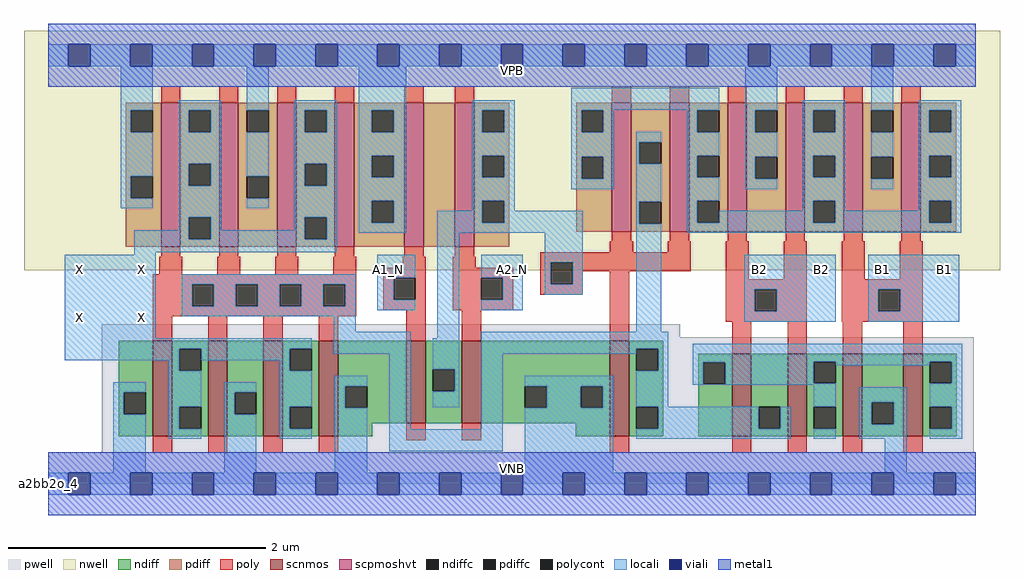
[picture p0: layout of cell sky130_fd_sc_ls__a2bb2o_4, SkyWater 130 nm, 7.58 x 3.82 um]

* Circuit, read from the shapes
.subckt sky130_fd_sc_ls__a2bb2o_4 A1_N A2_N B1 B2 VGND VNB VPB VPWR X
XM1 X n1 VGND VNB sky130_fd_pr__nfet_01v8 w=0.74 l=0.15 m=4
XM2 n2 A1_N VGND VNB sky130_fd_pr__nfet_01v8 w=0.64 l=0.15
XM3 VGND A2_N n2 VNB sky130_fd_pr__nfet_01v8 w=0.64 l=0.15
XM4 n1 n2 VGND VNB sky130_fd_pr__nfet_01v8 w=0.74 l=0.15
XM5 n1 B2 n3 VNB sky130_fd_pr__nfet_01v8 w=0.64 l=0.15 m=2
XM6 VGND B1 n3 VNB sky130_fd_pr__nfet_01v8 w=0.64 l=0.15 m=2
XM7 X n1 VPWR VPB sky130_fd_pr__pfet_01v8_hvt w=1.12 l=0.15 m=4
XM8 n4 A1_N VPWR VPB sky130_fd_pr__pfet_01v8_hvt w=1.12 l=0.15
XM9 n2 A2_N n4 VPB sky130_fd_pr__pfet_01v8_hvt w=1.12 l=0.15
XM10 n1 n2 n5 VPB sky130_fd_pr__pfet_01v8_hvt w=1 l=0.15 m=2
XM11 VPWR B2 n5 VPB sky130_fd_pr__pfet_01v8_hvt w=1 l=0.15 m=2
XM12 VPWR B1 n5 VPB sky130_fd_pr__pfet_01v8_hvt w=1 l=0.15 m=2
.ends

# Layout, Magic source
magic
tech sky130A
magscale 1 2
<< nwell >>
rect -38 332 1478 704
<< pwell >>
rect 83 228 981 248
rect 83 49 1437 228
rect 0 0 1440 49
<< scnmos >>
rect 162 74 192 222
rect 248 74 278 222
rect 334 74 364 222
rect 420 74 450 222
rect 556 94 586 222
rect 642 94 672 222
rect 872 74 902 222
rect 1062 74 1092 202
rect 1148 74 1178 202
rect 1234 74 1264 202
rect 1328 74 1358 202
<< scpmoshvt >>
rect 175 368 205 592
rect 265 368 295 592
rect 355 368 385 592
rect 445 368 475 592
rect 553 368 583 592
rect 631 368 661 592
rect 875 392 905 592
rect 965 392 995 592
rect 1055 392 1085 592
rect 1145 392 1175 592
rect 1235 392 1265 592
rect 1325 392 1355 592
<< ndiff >>
rect 109 142 162 222
rect 109 108 117 142
rect 151 108 162 142
rect 109 74 162 108
rect 192 210 248 222
rect 192 176 203 210
rect 237 176 248 210
rect 192 120 248 176
rect 192 86 203 120
rect 237 86 248 120
rect 192 74 248 86
rect 278 142 334 222
rect 278 108 289 142
rect 323 108 334 142
rect 278 74 334 108
rect 364 210 420 222
rect 364 176 375 210
rect 409 176 420 210
rect 364 120 420 176
rect 364 86 375 120
rect 409 86 420 120
rect 364 74 420 86
rect 450 152 556 222
rect 450 118 461 152
rect 495 118 556 152
rect 450 94 556 118
rect 586 178 642 222
rect 586 144 597 178
rect 631 144 642 178
rect 586 94 642 144
rect 672 152 872 222
rect 672 118 740 152
rect 774 118 827 152
rect 861 118 872 152
rect 672 94 872 118
rect 450 74 503 94
rect 819 74 872 94
rect 902 210 955 222
rect 902 176 913 210
rect 947 176 955 210
rect 902 120 955 176
rect 902 86 913 120
rect 947 86 955 120
rect 902 74 955 86
rect 1009 189 1062 202
rect 1009 155 1017 189
rect 1051 155 1062 189
rect 1009 74 1062 155
rect 1092 120 1148 202
rect 1092 86 1103 120
rect 1137 86 1148 120
rect 1092 74 1148 86
rect 1178 190 1234 202
rect 1178 156 1189 190
rect 1223 156 1234 190
rect 1178 120 1234 156
rect 1178 86 1189 120
rect 1223 86 1234 120
rect 1178 74 1234 86
rect 1264 127 1328 202
rect 1264 93 1279 127
rect 1313 93 1328 127
rect 1264 74 1328 93
rect 1358 190 1411 202
rect 1358 156 1369 190
rect 1403 156 1411 190
rect 1358 120 1411 156
rect 1358 86 1369 120
rect 1403 86 1411 120
rect 1358 74 1411 86
<< pdiff >>
rect 120 580 175 592
rect 120 546 128 580
rect 162 546 175 580
rect 120 478 175 546
rect 120 444 128 478
rect 162 444 175 478
rect 120 368 175 444
rect 205 580 265 592
rect 205 546 218 580
rect 252 546 265 580
rect 205 497 265 546
rect 205 463 218 497
rect 252 463 265 497
rect 205 414 265 463
rect 205 380 218 414
rect 252 380 265 414
rect 205 368 265 380
rect 295 580 355 592
rect 295 546 308 580
rect 342 546 355 580
rect 295 478 355 546
rect 295 444 308 478
rect 342 444 355 478
rect 295 368 355 444
rect 385 580 445 592
rect 385 546 398 580
rect 432 546 445 580
rect 385 497 445 546
rect 385 463 398 497
rect 432 463 445 497
rect 385 414 445 463
rect 385 380 398 414
rect 432 380 445 414
rect 385 368 445 380
rect 475 580 553 592
rect 475 546 502 580
rect 536 546 553 580
rect 475 510 553 546
rect 475 476 502 510
rect 536 476 553 510
rect 475 440 553 476
rect 475 406 502 440
rect 536 406 553 440
rect 475 368 553 406
rect 583 368 631 592
rect 661 580 716 592
rect 661 546 674 580
rect 708 546 716 580
rect 661 510 716 546
rect 661 476 674 510
rect 708 476 716 510
rect 661 440 716 476
rect 661 406 674 440
rect 708 406 716 440
rect 661 368 716 406
rect 820 580 875 592
rect 820 546 828 580
rect 862 546 875 580
rect 820 508 875 546
rect 820 474 828 508
rect 862 474 875 508
rect 820 392 875 474
rect 905 531 965 592
rect 905 497 918 531
rect 952 497 965 531
rect 905 438 965 497
rect 905 404 918 438
rect 952 404 965 438
rect 905 392 965 404
rect 995 580 1055 592
rect 995 546 1008 580
rect 1042 546 1055 580
rect 995 510 1055 546
rect 995 476 1008 510
rect 1042 476 1055 510
rect 995 440 1055 476
rect 995 406 1008 440
rect 1042 406 1055 440
rect 995 392 1055 406
rect 1085 580 1145 592
rect 1085 546 1098 580
rect 1132 546 1145 580
rect 1085 508 1145 546
rect 1085 474 1098 508
rect 1132 474 1145 508
rect 1085 392 1145 474
rect 1175 580 1235 592
rect 1175 546 1188 580
rect 1222 546 1235 580
rect 1175 510 1235 546
rect 1175 476 1188 510
rect 1222 476 1235 510
rect 1175 440 1235 476
rect 1175 406 1188 440
rect 1222 406 1235 440
rect 1175 392 1235 406
rect 1265 580 1325 592
rect 1265 546 1278 580
rect 1312 546 1325 580
rect 1265 508 1325 546
rect 1265 474 1278 508
rect 1312 474 1325 508
rect 1265 392 1325 474
rect 1355 580 1410 592
rect 1355 546 1368 580
rect 1402 546 1410 580
rect 1355 510 1410 546
rect 1355 476 1368 510
rect 1402 476 1410 510
rect 1355 440 1410 476
rect 1355 406 1368 440
rect 1402 406 1410 440
rect 1355 392 1410 406
<< ndiffc >>
rect 117 108 151 142
rect 203 176 237 210
rect 203 86 237 120
rect 289 108 323 142
rect 375 176 409 210
rect 375 86 409 120
rect 461 118 495 152
rect 597 144 631 178
rect 740 118 774 152
rect 827 118 861 152
rect 913 176 947 210
rect 913 86 947 120
rect 1017 155 1051 189
rect 1103 86 1137 120
rect 1189 156 1223 190
rect 1189 86 1223 120
rect 1279 93 1313 127
rect 1369 156 1403 190
rect 1369 86 1403 120
<< pdiffc >>
rect 128 546 162 580
rect 128 444 162 478
rect 218 546 252 580
rect 218 463 252 497
rect 218 380 252 414
rect 308 546 342 580
rect 308 444 342 478
rect 398 546 432 580
rect 398 463 432 497
rect 398 380 432 414
rect 502 546 536 580
rect 502 476 536 510
rect 502 406 536 440
rect 674 546 708 580
rect 674 476 708 510
rect 674 406 708 440
rect 828 546 862 580
rect 828 474 862 508
rect 918 497 952 531
rect 918 404 952 438
rect 1008 546 1042 580
rect 1008 476 1042 510
rect 1008 406 1042 440
rect 1098 546 1132 580
rect 1098 474 1132 508
rect 1188 546 1222 580
rect 1188 476 1222 510
rect 1188 406 1222 440
rect 1278 546 1312 580
rect 1278 474 1312 508
rect 1368 546 1402 580
rect 1368 476 1402 510
rect 1368 406 1402 440
<< poly >>
rect 175 592 205 618
rect 265 592 295 618
rect 355 592 385 618
rect 445 592 475 618
rect 553 592 583 618
rect 631 592 661 618
rect 875 592 905 618
rect 965 592 995 618
rect 1055 592 1085 618
rect 1145 592 1175 618
rect 1235 592 1265 618
rect 1325 592 1355 618
rect 875 377 905 392
rect 965 377 995 392
rect 1055 377 1085 392
rect 1145 377 1175 392
rect 1235 377 1265 392
rect 1325 377 1355 392
rect 175 353 205 368
rect 265 353 295 368
rect 355 353 385 368
rect 445 353 475 368
rect 553 353 583 368
rect 631 353 661 368
rect 872 360 908 377
rect 962 360 998 377
rect 172 326 208 353
rect 262 326 298 353
rect 352 326 388 353
rect 442 326 478 353
rect 550 336 586 353
rect 162 310 478 326
rect 162 276 223 310
rect 257 276 291 310
rect 325 276 359 310
rect 393 276 427 310
rect 461 276 478 310
rect 162 260 478 276
rect 520 320 586 336
rect 520 286 536 320
rect 570 286 586 320
rect 520 270 586 286
rect 628 336 664 353
rect 764 344 998 360
rect 628 320 722 336
rect 628 286 672 320
rect 706 286 722 320
rect 764 310 780 344
rect 814 330 998 344
rect 814 310 830 330
rect 764 294 830 310
rect 628 270 722 286
rect 162 222 192 260
rect 248 222 278 260
rect 334 222 364 260
rect 420 222 450 260
rect 556 222 586 270
rect 642 222 672 270
rect 872 222 902 330
rect 1052 318 1088 377
rect 1142 318 1178 377
rect 1052 302 1178 318
rect 1052 268 1097 302
rect 1131 268 1178 302
rect 1052 252 1178 268
rect 1232 318 1268 377
rect 1322 318 1358 377
rect 1232 302 1358 318
rect 1232 268 1289 302
rect 1323 268 1358 302
rect 1232 252 1358 268
rect 162 48 192 74
rect 248 48 278 74
rect 334 48 364 74
rect 420 48 450 74
rect 556 68 586 94
rect 642 68 672 94
rect 1062 202 1092 252
rect 1148 202 1178 252
rect 1234 202 1264 252
rect 1328 202 1358 252
rect 872 48 902 74
rect 1062 48 1092 74
rect 1148 48 1178 74
rect 1234 48 1264 74
rect 1328 48 1358 74
<< polycont >>
rect 223 276 257 310
rect 291 276 325 310
rect 359 276 393 310
rect 427 276 461 310
rect 536 286 570 320
rect 672 286 706 320
rect 780 310 814 344
rect 1097 268 1131 302
rect 1289 268 1323 302
<< locali >>
rect 0 649 31 683
rect 65 649 127 683
rect 161 649 223 683
rect 257 649 319 683
rect 353 649 415 683
rect 449 649 511 683
rect 545 649 607 683
rect 641 649 703 683
rect 737 649 799 683
rect 833 649 895 683
rect 929 649 991 683
rect 1025 649 1087 683
rect 1121 649 1183 683
rect 1217 649 1279 683
rect 1313 649 1375 683
rect 1409 649 1440 683
rect 112 580 162 649
rect 112 546 128 580
rect 112 478 162 546
rect 112 444 128 478
rect 112 428 162 444
rect 202 580 268 596
rect 202 546 218 580
rect 252 546 268 580
rect 202 497 268 546
rect 202 463 218 497
rect 252 463 268 497
rect 202 414 268 463
rect 308 580 342 649
rect 308 478 342 546
rect 308 428 342 444
rect 382 580 448 596
rect 382 546 398 580
rect 432 546 448 580
rect 382 497 448 546
rect 382 463 398 497
rect 432 463 448 497
rect 202 394 218 414
rect 133 380 218 394
rect 252 394 268 414
rect 382 414 448 463
rect 382 394 398 414
rect 252 380 398 394
rect 432 380 448 414
rect 482 580 556 649
rect 482 546 502 580
rect 536 546 556 580
rect 482 510 556 546
rect 482 476 502 510
rect 536 476 556 510
rect 482 440 556 476
rect 482 406 502 440
rect 536 406 556 440
rect 658 580 724 596
rect 658 546 674 580
rect 708 546 724 580
rect 658 510 724 546
rect 658 476 674 510
rect 708 476 724 510
rect 658 440 724 476
rect 812 581 1042 615
rect 812 580 878 581
rect 812 546 828 580
rect 862 546 878 580
rect 992 580 1042 581
rect 812 508 878 546
rect 812 474 828 508
rect 862 474 878 508
rect 812 458 878 474
rect 913 531 952 547
rect 913 497 918 531
rect 658 424 674 440
rect 482 390 556 406
rect 604 406 674 424
rect 708 424 724 440
rect 913 438 952 497
rect 708 406 830 424
rect 604 390 830 406
rect 133 360 448 380
rect 133 356 167 360
rect 25 226 167 356
rect 207 310 477 326
rect 207 276 223 310
rect 257 276 291 310
rect 325 276 359 310
rect 393 276 427 310
rect 461 276 477 310
rect 207 260 477 276
rect 511 320 570 356
rect 511 286 536 320
rect 511 270 570 286
rect 443 236 477 260
rect 25 210 409 226
rect 25 192 203 210
rect 187 176 203 192
rect 237 192 375 210
rect 101 142 151 158
rect 101 108 117 142
rect 101 17 151 108
rect 187 120 237 176
rect 359 176 375 192
rect 443 202 563 236
rect 604 226 638 390
rect 672 320 737 356
rect 706 286 737 320
rect 771 344 830 390
rect 771 310 780 344
rect 814 310 830 344
rect 771 294 830 310
rect 913 404 918 438
rect 672 270 737 286
rect 913 236 952 404
rect 992 546 1008 580
rect 992 510 1042 546
rect 992 476 1008 510
rect 992 440 1042 476
rect 1082 580 1132 649
rect 1082 546 1098 580
rect 1082 508 1132 546
rect 1082 474 1098 508
rect 1082 458 1132 474
rect 1172 580 1238 596
rect 1172 546 1188 580
rect 1222 546 1238 580
rect 1172 510 1238 546
rect 1172 476 1188 510
rect 1222 476 1238 510
rect 992 406 1008 440
rect 1172 440 1238 476
rect 1278 580 1312 649
rect 1278 508 1312 546
rect 1278 458 1312 474
rect 1352 580 1418 596
rect 1352 546 1368 580
rect 1402 546 1418 580
rect 1352 510 1418 546
rect 1352 476 1368 510
rect 1402 476 1418 510
rect 1172 424 1188 440
rect 1042 406 1188 424
rect 1222 424 1238 440
rect 1352 440 1418 476
rect 1352 424 1368 440
rect 1222 406 1368 424
rect 1402 406 1418 440
rect 992 390 1418 406
rect 1081 302 1223 356
rect 1081 268 1097 302
rect 1131 268 1223 302
rect 1081 252 1223 268
rect 1273 302 1415 356
rect 1273 268 1289 302
rect 1323 268 1415 302
rect 1273 252 1415 268
rect 187 86 203 120
rect 187 70 237 86
rect 273 142 323 158
rect 273 108 289 142
rect 273 17 323 108
rect 359 120 409 176
rect 359 86 375 120
rect 359 70 409 86
rect 445 152 495 168
rect 445 118 461 152
rect 445 17 495 118
rect 529 85 563 202
rect 597 178 638 226
rect 631 144 638 178
rect 597 119 638 144
rect 672 210 963 236
rect 672 202 913 210
rect 672 85 706 202
rect 947 176 963 210
rect 529 51 706 85
rect 740 152 877 168
rect 774 118 827 152
rect 861 118 877 152
rect 740 17 877 118
rect 913 120 963 176
rect 1001 190 1419 218
rect 1001 189 1189 190
rect 1001 155 1017 189
rect 1051 156 1189 189
rect 1223 184 1369 190
rect 1051 155 1223 156
rect 1001 154 1223 155
rect 1189 120 1223 154
rect 1403 156 1419 190
rect 947 86 1103 120
rect 1137 86 1153 120
rect 913 70 1153 86
rect 1189 70 1223 86
rect 1259 127 1333 150
rect 1259 93 1279 127
rect 1313 93 1333 127
rect 1259 70 1333 93
rect 1369 120 1419 156
rect 1403 86 1419 120
rect 1369 70 1419 86
rect 1299 17 1333 70
rect 0 -17 31 17
rect 65 -17 127 17
rect 161 -17 223 17
rect 257 -17 319 17
rect 353 -17 415 17
rect 449 -17 511 17
rect 545 -17 607 17
rect 641 -17 703 17
rect 737 -17 799 17
rect 833 -17 895 17
rect 929 -17 991 17
rect 1025 -17 1087 17
rect 1121 -17 1183 17
rect 1217 -17 1279 17
rect 1313 -17 1375 17
rect 1409 -17 1440 17
<< viali >>
rect 31 649 65 683
rect 127 649 161 683
rect 223 649 257 683
rect 319 649 353 683
rect 415 649 449 683
rect 511 649 545 683
rect 607 649 641 683
rect 703 649 737 683
rect 799 649 833 683
rect 895 649 929 683
rect 991 649 1025 683
rect 1087 649 1121 683
rect 1183 649 1217 683
rect 1279 649 1313 683
rect 1375 649 1409 683
rect 31 -17 65 17
rect 127 -17 161 17
rect 223 -17 257 17
rect 319 -17 353 17
rect 415 -17 449 17
rect 511 -17 545 17
rect 607 -17 641 17
rect 703 -17 737 17
rect 799 -17 833 17
rect 895 -17 929 17
rect 991 -17 1025 17
rect 1087 -17 1121 17
rect 1183 -17 1217 17
rect 1279 -17 1313 17
rect 1375 -17 1409 17
<< metal1 >>
rect 0 683 1440 715
rect 0 649 31 683
rect 65 649 127 683
rect 161 649 223 683
rect 257 649 319 683
rect 353 649 415 683
rect 449 649 511 683
rect 545 649 607 683
rect 641 649 703 683
rect 737 649 799 683
rect 833 649 895 683
rect 929 649 991 683
rect 1025 649 1087 683
rect 1121 649 1183 683
rect 1217 649 1279 683
rect 1313 649 1375 683
rect 1409 649 1440 683
rect 0 617 1440 649
rect 0 17 1440 49
rect 0 -17 31 17
rect 65 -17 127 17
rect 161 -17 223 17
rect 257 -17 319 17
rect 353 -17 415 17
rect 449 -17 511 17
rect 545 -17 607 17
rect 641 -17 703 17
rect 737 -17 799 17
rect 833 -17 895 17
rect 929 -17 991 17
rect 1025 -17 1087 17
rect 1121 -17 1183 17
rect 1217 -17 1279 17
rect 1313 -17 1375 17
rect 1409 -17 1440 17
rect 0 -49 1440 -17
<< labels >>
rlabel comment s 0 0 0 0 4 a2bb2o_4
flabel pwell s 0 0 1440 49 0 FreeSans 200 0 0 0 VNB
port 6 nsew ground bidirectional
flabel nwell s 0 617 1440 666 0 FreeSans 200 0 0 0 VPB
port 7 nsew power bidirectional
flabel metal1 s 0 617 1440 666 0 FreeSans 340 0 0 0 VPWR
port 8 nsew power bidirectional abutment
flabel metal1 s 0 0 1440 49 0 FreeSans 340 0 0 0 VGND
port 5 nsew ground bidirectional abutment
flabel locali s 31 242 65 276 0 FreeSans 340 0 0 0 X
port 9 nsew signal output
flabel locali s 31 316 65 350 0 FreeSans 340 0 0 0 X
port 9 nsew signal output
flabel locali s 127 242 161 276 0 FreeSans 340 0 0 0 X
port 9 nsew signal output
flabel locali s 127 316 161 350 0 FreeSans 340 0 0 0 X
port 9 nsew signal output
flabel locali s 1087 316 1121 350 0 FreeSans 340 0 0 0 B2
port 4 nsew signal input
flabel locali s 1183 316 1217 350 0 FreeSans 340 0 0 0 B2
port 4 nsew signal input
flabel locali s 1279 316 1313 350 0 FreeSans 340 0 0 0 B1
port 3 nsew signal input
flabel locali s 1375 316 1409 350 0 FreeSans 340 0 0 0 B1
port 3 nsew signal input
flabel locali s 703 316 737 350 0 FreeSans 340 0 0 0 A2_N
port 2 nsew signal input
flabel locali s 511 316 545 350 0 FreeSans 340 0 0 0 A1_N
port 1 nsew signal input
<< properties >>
string LEFsite unit
string LEFclass CORE
string FIXED_BBOX 0 0 1440 666
string GDS_FILE $PDKPATH/libs.ref/sky130_fd_sc_ls/gds/sky130_fd_sc_ls.gds
string LEFsymmetry X Y
string GDS_END 2922332
string GDS_START 2910782
<< end >>
